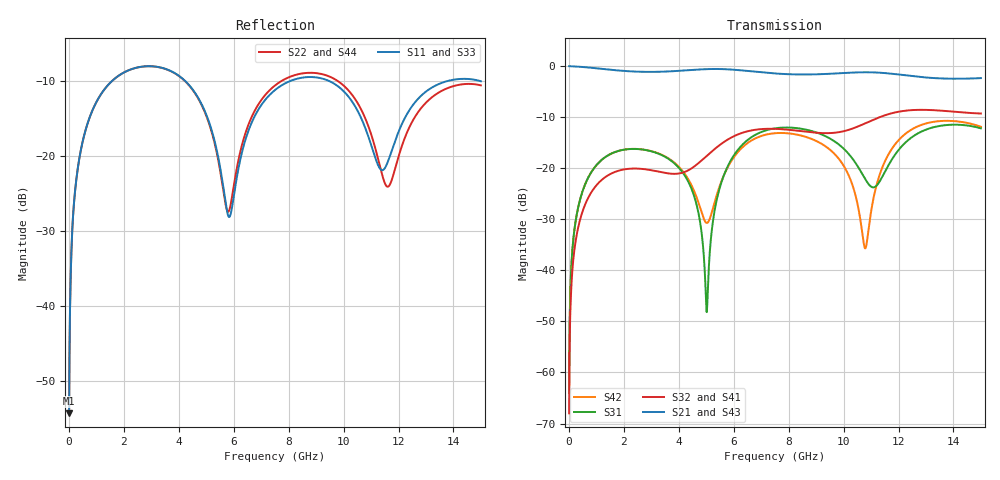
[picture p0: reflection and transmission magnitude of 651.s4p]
! Created with skrf 1.8.0 (http://scikit-rf.org).
# GHz S RI R 50.0
!freq ReS11 ImS11 ReS12 ImS12 ReS13 ImS13
! ReS14 ImS14
! ReS21 ImS21 ReS22 ImS22 ReS23 ImS23
! ReS24 ImS24
! ReS31 ImS31 ReS32 ImS32 ReS33 ImS33
! ReS34 ImS34
! ReS41 ImS41 ReS42 ImS42 ReS43 ImS43
! ReS44 ImS44
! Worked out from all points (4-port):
!   2499 points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, 5 MHz to 15 GHz, reference 50 ohm
!   strongest paths, dB at 5 MHz, 3.476 GHz, 7.19 GHz, 11.1 GHz, 15 GHz:
!     S21: 0.0, -1.1, -1.3, -1.2, -2.3
!     S43: 0.0, -1.1, -1.3, -1.2, -2.4
!     S32: -68.0, -20.9, -12.3, -10.5, -9.3
!     S41: -68.0, -21.0, -12.3, -10.5, -9.5
!     S31: -64.0, -17.7, -12.6, -23.7, -12.2
!     S42: -64.0, -17.6, -13.4, -25.6, -11.9
!   lowest |S11| = -54.2 dB at 5 MHz (marker M1), VSWR 1.00, Z = 50.2 + j0.118 ohm
!   |S11| at or under -10 dB: start of sweep to 1.583 GHz; 4.217 GHz to 8.095 GHz (3.878 GHz wide, 63 % of centre); 9.438 GHz to 13.85 GHz (4.407 GHz wide, 37.9 % of centre) (the widest 3 of 4)
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0.005  0.00155 0.00117  0.9984 -0.00301  7.79e-05 0.000627  -7.56e-05 -0.000391
       0.9984 -0.00301  0.00155 0.00117  -7.56e-05 -0.000391  7.79e-05 0.000627
       7.79e-05 0.000627  -7.56e-05 -0.000391  0.00155 0.00117  0.9984 -0.00301
       -7.56e-05 -0.000391  7.79e-05 0.000627  0.9984 -0.00301  0.00155 0.00117
0.3126303  0.0218 0.0776  0.9703 -0.1878  0.0101 0.0374  -0.00838 -0.0231
           0.9703 -0.1878  0.0218 0.0776  -0.00839 -0.0231  0.0101 0.0374
           0.0101 0.0374  -0.00839 -0.0231  0.0218 0.0776  0.9703 -0.1878
           -0.00838 -0.0231  0.0101 0.0374  0.9703 -0.1878  0.0218 0.0776
1.469362  0.236 0.1881  0.6198 -0.6845  0.1159 0.0709  -0.0847 -0.0178
          0.6198 -0.6845  0.2359 0.1882  -0.0849 -0.0176  0.1161 0.0707
          0.1159 0.0709  -0.0849 -0.0176  0.2359 0.1882  0.6198 -0.6845
          -0.0847 -0.0178  0.1161 0.0707  0.6198 -0.6845  0.236 0.1881
5.008337  0.1044 -0.1541  -0.8103 -0.4638  -0.00339 -0.00213  -0.0631 0.1152
          -0.8103 -0.4638  0.105 -0.1497  -0.0601 0.1169  -0.0255 -0.014
          -0.00339 -0.00213  -0.0601 0.1169  0.1045 -0.1536  -0.8105 -0.4636
          -0.0631 0.1152  -0.0255 -0.014  -0.8105 -0.4636  0.1044 -0.1497
9.135056  0.3252 -0.0507  0.0478 0.8316  0.1717 -0.1337  0.2019 -0.0804
          0.0478 0.8316  0.3433 -0.0762  0.2018 -0.091  0.1722 -0.0425
          0.1717 -0.1337  0.2018 -0.091  0.3253 -0.0461  0.0476 0.8308
          0.2019 -0.0804  0.1722 -0.0425  0.0476 0.8308  0.3472 -0.08
10.78574  0.118 -0.0986  0.7024 0.5142  -0.0522 -0.0587  0.1603 -0.2228
          0.7024 0.5142  0.113 -0.1377  0.1474 -0.2321  0.0155 0.00536
          -0.0522 -0.0587  0.1474 -0.2321  0.124 -0.0975  0.7013 0.5146
          0.1603 -0.2228  0.0155 0.00536  0.7013 0.5146  0.1121 -0.1424
15  0.2992 -0.0923  0.0424 -0.7618  0.2224 -0.1043  -0.3279 0.0635
    0.0424 -0.7618  0.2856 -0.0697  -0.3313 0.0906  0.2287 -0.1123
    0.2224 -0.1043  -0.3313 0.0906  0.2924 -0.079  0.0425 -0.7618
    -0.3279 0.0635  0.2287 -0.1123  0.0425 -0.7618  0.2933 -0.0836
